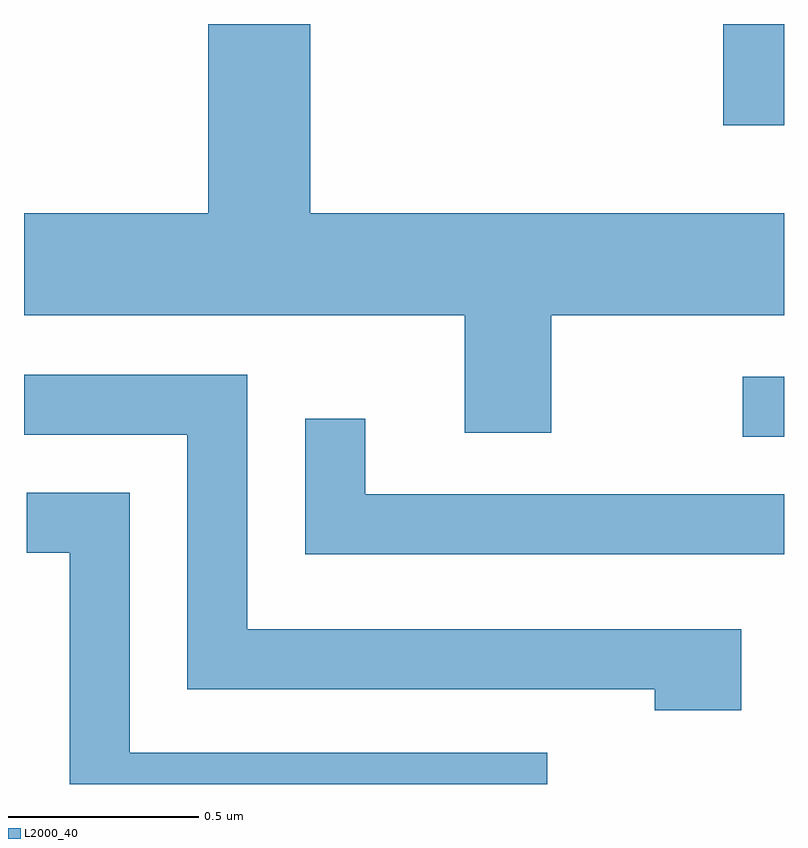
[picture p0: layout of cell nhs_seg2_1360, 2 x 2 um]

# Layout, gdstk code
import gdstk
lib = gdstk.Library(unit=1e-6, precision=1e-09)
def R(c, l, rs):  # rectangles x0, y0, x1, y1
    for r in rs: c.add(gdstk.rectangle(r[:2], r[2:], *l))
def P(c, l, *ps):  # polygons
    for p in ps: c.add(gdstk.Polygon(p, *l))
L2000_40 = (2000, 40)

nhs_seg2_1360 = lib.new_cell('nhs_seg2_1360')
R(nhs_seg2_1360, L2000_40, [(196.503,1105.716,196.611,1105.874), (196.451,1106.536,196.611,1106.802)])
P(nhs_seg2_1360, L2000_40, [(195.999,1106.036),(196.611,1106.036),(196.611,1106.304),(195.364,1106.304),(195.364,1106.802),(195.096,1106.802),(195.096,1106.304),(194.611,1106.304),(194.611,1106.036),(195.771,1106.036),(195.771,1105.726),(195.999,1105.726)],
  [(196.499,1105.209),(195.199,1105.209),(195.199,1105.879),(194.611,1105.879),(194.611,1105.721),(195.041,1105.721),(195.041,1105.051),(196.271,1105.051),(196.271,1104.996),(196.499,1104.996)],
  [(196.611,1105.564),(195.509,1105.564),(195.509,1105.763),(195.351,1105.763),(195.351,1105.406),(196.611,1105.406)],
  [(195.988,1104.884),(194.889,1104.884),(194.889,1105.569),(194.618,1105.569),(194.618,1105.411),(194.731,1105.411),(194.731,1104.802),(195.988,1104.802)])

lib.write_gds('nhs_seg2_1360.gds')
